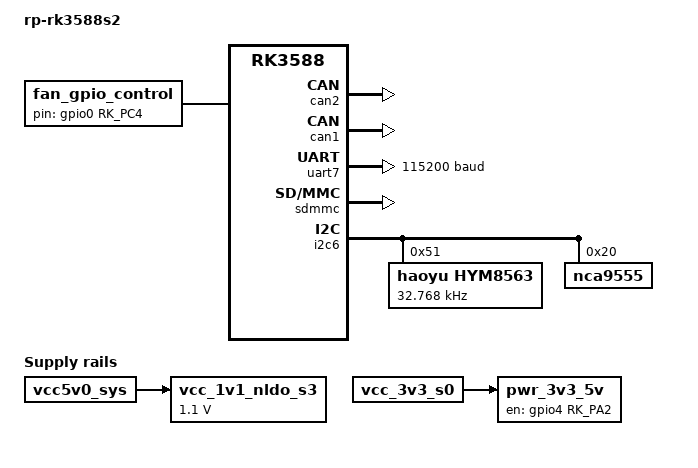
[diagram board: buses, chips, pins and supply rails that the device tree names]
/* board base */
//#include "../rk3588s-evb4-lp4x-v10-linux.dts"
#include <dt-bindings/gpio/nca9555-gpio.h>
#include "rp-rk3588s2-board.dtsi"

#include "rp-tp-i2c4-gt911.dtsi"
#include "rp-rk3588s2-lcd-gpio.dtsi"

#include "rpdzkj_config.dtsi"

/* usb */
#include "rp-usb-typea-rk3588.dtsi"
#include "rp-usb-host.dtsi"

/* ethernet */
#include "rp-eth-pcie2gmac-rk3588s2.dtsi"

/* pcie */
#include "rp-pcie-power-rk3588s.dtsi"

/* audio */
#include "rp-audio-es8388.dtsi"

/* wifi/bt */
#include "rp-wifi-bt-vs2275s-rk3588s2.dtsi"

/* camera */
#include "rp-mipi-camera-dphy0-rk3588s2.dtsi"
#include "rp-mipi-camera-dcphy1-rk3588s2.dtsi"
#include "rp-mipi-camera-dphy1-rk3588s2.dtsi"

#include "rp-lcd-hdmi0.dtsi"        

/* mipi lcd */
//#include "rp-lcd-mipi0-5-720-1280-v2.dtsi"
//#include "rp-lcd-mipi0-5-720-1280-v2-boxTP.dtsi"
//#include "rp-lcd-mipi0-7-720-1280.dtsi"
#include "rp-lcd-mipi0-7-1024-600.dtsi"
//#include "rp-lcd-mipi0-8-800-1280-v3.dtsi"
//#include "rp-lcd-mipi0-8-1200-1920.dtsi"
//#include "rp-lcd-mipi0-10-800-1280-v3.dtsi"
//#include "rp-lcd-mipi0-10-1200-1920.dtsi"
//#include "rp-lcd-mipi0-10-1920-1200-jc.dtsi"

/* mipi_to_lvds lcd */
//#include "rp-lcd-mipi1-gm8775-lvds-21-1920-1080.dtsi"
//#include "rp-lcd-mipi1-gm8775-lvds-10.1-1024-600.dtsi"
/ {
    model = "rp-rk3588s2";

    vcc_1v1_nldo_s3: vcc-1v1-nldo-s3 {
        compatible = "regulator-fixed";
        regulator-name = "vcc_1v1_nldo_s3";
        regulator-always-on;
        regulator-boot-on;
        regulator-min-microvolt = <1100000>;
        regulator-max-microvolt = <1100000>;
        vin-supply = <&vcc5v0_sys>;
    };
	pwr_3v3_5v: pwr-3v3-5v {
        compatible = "regulator-fixed";
        regulator-name = "pwr_3v3_5v";
        regulator-boot-on;
        regulator-always-on;
        enable-active-high;
        gpio = <&gpio4 RK_PA2 GPIO_ACTIVE_HIGH>;
        vin-supply = <&vcc_3v3_s0>;
    };

	fan_gpio_control {
            compatible = "fan_gpio_control";
            gpio-pin = <&gpio0 RK_PC4 GPIO_ACTIVE_HIGH>;
            thermal-zone = "soc-thermal";
            threshold-temp = <60000>; //60C
            running-time = <10000>; //10s
            status = "okay";
        };

        rp_power{
                status = "okay";
                compatible = "rp_power";
                rp_not_deep_sleep = <1>;

//#define GPIO_FUNCTION_OUTPUT 0
//#define GPIO_FUNCTION_INPUT 1
//#define GPIO_FUNCTION_IRQ 2
//#define GPIO_FUNCTION_FLASH 3
//#define GPIO_FUNCTION_OUTPUT_CTRL 4


                led {  
                        gpio_num = <&gpio3 RK_PC2 GPIO_ACTIVE_HIGH>;
                        gpio_function = <3>;
                };
				usb-host-power {
                        gpio_num = <&gpio4 RK_PB5 GPIO_ACTIVE_HIGH>;
                        gpio_function = <4>;
                };

                usb-hub-reset {
                        gpio_num = <&gpio1 RK_PD5 GPIO_ACTIVE_LOW>;
                        gpio_function = <4>;
                };

				otg_vdd5v {
                        gpio_num = <&gpio3 RK_PC3 GPIO_ACTIVE_HIGH>;
                        gpio_function = <4>;
                };

                sd-pwren {
                        gpio_num = <&gpio4 RK_PB4 GPIO_ACTIVE_HIGH>;
                        gpio_function = <4>;
                };

                4g-pwrkey {
                        gpio_num = <&gpio0 RK_PC2 GPIO_ACTIVE_HIGH>;
                        gpio_function = <4>;
                };
                4g-vdd3v6 {
                        gpio_num = <&gpio0 RK_PC1 GPIO_ACTIVE_HIGH>;
                        gpio_function = <4>;
                };
    };

        rp_gpio{
                status = "okay";
                compatible = "rp_gpio";
		
		gpio0d3 {
                        gpio_num = <&gpio0 RK_PD3 GPIO_ACTIVE_HIGH>;
                        gpio_function = <0>;
                };
				
		gpio0d6 {
                        gpio_num = <&gpio0 RK_PD6 GPIO_ACTIVE_HIGH>;
                        gpio_function = <0>;
                };
                gpio1c1 {
                        gpio_num = <&gpio1 RK_PC1 GPIO_ACTIVE_HIGH>;
                        gpio_function = <0>;
                };

                gpio0b0 {
                        gpio_num = <&gpio0 RK_PB0 GPIO_ACTIVE_HIGH>;
                        gpio_function = <0>;
                };

                gpio0b2 {
                        gpio_num = <&gpio0 RK_PB2 GPIO_ACTIVE_HIGH>;
                        gpio_function = <0>;
                };

                gpio1c6 {
                        gpio_num = <&gpio1 RK_PC6 GPIO_ACTIVE_HIGH>;
                        gpio_function = <0>;
                };

                gpio1c4 {
                        gpio_num = <&gpio1 RK_PC4 GPIO_ACTIVE_HIGH>;
                        gpio_function = <0>;
                };

                gpio3b1 {
                        gpio_num = <&gpio3 RK_PB1 GPIO_ACTIVE_HIGH>;
                        gpio_function = <0>;
                };

                gpio3b4 {
                        gpio_num = <&gpio3 RK_PB4 GPIO_ACTIVE_HIGH>;
                        gpio_function = <0>;
                };
				
				gpio3c1 {
                        gpio_num = <&gpio3 RK_PC1 GPIO_ACTIVE_HIGH>;
                        gpio_function = <0>;
                };

                nca9555_0 {
                        gpio_num = <&nca9555_gpio IO_00 GPIO_ACTIVE_HIGH>;
                        gpio_function = <0>;
                };

                nca9555_1 {
                        gpio_num = <&nca9555_gpio IO_01 GPIO_ACTIVE_HIGH>;
                        gpio_function = <0>;
                };

                nca9555_2 {
                        gpio_num = <&nca9555_gpio IO_02 GPIO_ACTIVE_HIGH>;
                        gpio_function = <0>;
                };
                nca9555_3 {
                        gpio_num = <&nca9555_gpio IO_03 GPIO_ACTIVE_HIGH>;
                        gpio_function = <0>;
                };

                nca9555_4 {
                        gpio_num = <&nca9555_gpio IO_04 GPIO_ACTIVE_HIGH>;
                        gpio_function = <0>;
                };

                nca9555_5 {
                        gpio_num = <&nca9555_gpio IO_05 GPIO_ACTIVE_HIGH>;
                        gpio_function = <0>;
                };
	
				nca9555_6 {
                        gpio_num = <&nca9555_gpio IO_06 GPIO_ACTIVE_HIGH>;
                        gpio_function = <0>;
                };

                nca9555_7 {
                        gpio_num = <&nca9555_gpio IO_07 GPIO_ACTIVE_HIGH>;
                        gpio_function = <0>;
                };

                nca9555_10 {
                        gpio_num = <&nca9555_gpio IO_10 GPIO_ACTIVE_HIGH>;
                        gpio_function = <0>;
                };
                nca9555_11 {
                        gpio_num = <&nca9555_gpio IO_11 GPIO_ACTIVE_HIGH>;
                        gpio_function = <0>;
                };

                nca9555_12 {
                        gpio_num = <&nca9555_gpio IO_12 GPIO_ACTIVE_HIGH>;
                        gpio_function = <0>;
                };

                nca9555_13 {
                        gpio_num = <&nca9555_gpio IO_13 GPIO_ACTIVE_HIGH>;
                        gpio_function = <0>;
                };

                nca9555_14 {
                        gpio_num = <&nca9555_gpio IO_14 GPIO_ACTIVE_HIGH>;
                        gpio_function = <0>;
                };

				nca9555_15 {
                        gpio_num = <&nca9555_gpio IO_15 GPIO_ACTIVE_HIGH>;
                        gpio_function = <0>;
                };

                nca9555_16 {
                        gpio_num = <&nca9555_gpio IO_16 GPIO_ACTIVE_HIGH>;
                        gpio_function = <0>;
                };

                nca9555_17 {
                        gpio_num = <&nca9555_gpio IO_17 GPIO_ACTIVE_HIGH>;
                        gpio_function = <0>;
                };

		};
};


&fiq_debugger {
    rockchip,baudrate = <115200>;
};


&can2 {
    assigned-clocks = <&cru CLK_CAN0>;
    assigned-clock-rates = <200000000>;
    status = "okay";
    pinctrl-names = "default";
    pinctrl-0 = <&can2m1_pins>;
};

&can1 {
    assigned-clocks = <&cru CLK_CAN1>;
    assigned-clock-rates = <200000000>;
    status = "okay";
    pinctrl-names = "default";
    pinctrl-0 = <&can1m1_pins>;
};

/*RS485*/
&uart7 {
    status = "okay";
    pinctrl-names = "default";
    pinctrl-0 = <&uart7m2_xfer>;
    current-speed = <115200>;
};

&sdmmc {
    status = "okay";
  /delete-property/ vmmc-supply;
};

&i2c6 {
    status = "okay";
    pinctrl-names = "default";
    pinctrl-0 = <&i2c6m3_xfer>;

    hym8563: hym8563@51 {
        compatible = "haoyu,hym8563";
        reg = <0x51>;
        #clock-cells = <0>;
        clock-frequency = <32768>;
        clock-output-names = "hym8563";
    };
	nca9555: mfd-gpio@20 {
                compatible = "nca9555";
                reg = <0x20>;
                status = "okay";

                nca9555_gpio: gpio-normal@20 {
                        compatible = "nca9555-gpio";
                        gpio-controller;
                        #gpio-cells = <2>;
                };
        };

};

&pmic_pins {
    rockchip,pins =
    /* pmic_int_l */
    <0 RK_PA7 0 &pcfg_pull_up>,
    /* pmic_sleep1 */
    <0 RK_PA2 1 &pcfg_pull_none>,
    /* pmic_sleep2 */
    <0 RK_PA3 1 &pcfg_pull_none>,
    /* pmic_sleep3 */
    //<0 RK_PC1 1 &pcfg_pull_none>,
    /* pmic_sleep4 */
    //<0 RK_PC2 1 &pcfg_pull_none>,
    /* pmic_sleep5 */
    <0 RK_PC3 1 &pcfg_pull_none>;
    /* pmic_sleep6 */
    //<0 RK_PD6 1 &pcfg_pull_none>;

};
